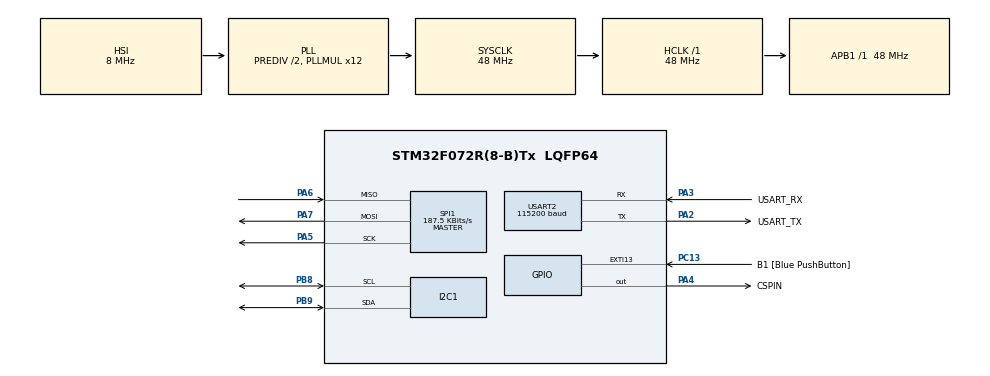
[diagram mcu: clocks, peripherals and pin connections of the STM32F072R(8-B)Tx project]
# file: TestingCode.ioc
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Mcu.Family=STM32F0
Mcu.Name=STM32F072R(8-B)Tx
Mcu.Package=LQFP64
PA13.GPIO_Label=TMS
PA13.Signal=SYS_SWDIO
PA14.GPIO_Label=TCK
PA14.Signal=SYS_SWCLK
PA2.GPIO_Label=USART_TX
PA2.GPIO_Mode=GPIO_MODE_AF_PP
PA2.GPIO_PuPd=GPIO_NOPULL
PA2.GPIO_Speed=GPIO_SPEED_FREQ_LOW
PA2.Mode=Asynchronous
PA2.Signal=USART2_TX
PA3.GPIO_Label=USART_RX
PA3.GPIO_Mode=GPIO_MODE_AF_PP
PA3.GPIO_PuPd=GPIO_NOPULL
PA3.GPIO_Speed=GPIO_SPEED_FREQ_LOW
PA3.Mode=Asynchronous
PA3.Signal=USART2_RX
PA4.GPIO_Label=CSPIN
PA4.GPIO_PuPd=GPIO_PULLUP
PA4.GPIO_Speed=GPIO_SPEED_FREQ_HIGH
PA4.PinState=GPIO_PIN_RESET
PA4.Signal=GPIO_Output
PA5.Mode=Full_Duplex_Master
PA5.Signal=SPI1_SCK
PA6.Mode=Full_Duplex_Master
PA6.Signal=SPI1_MISO
PA7.Mode=Full_Duplex_Master
PA7.Signal=SPI1_MOSI
PB8.Mode=I2C
PB8.Signal=I2C1_SCL
PB9.Mode=I2C
PB9.Signal=I2C1_SDA
PC13.GPIO_Label=B1 [Blue PushButton]
PC13.GPIO_ModeDefaultEXTI=GPIO_MODE_EVT_RISING
PC13.Signal=GPXTI13
PC14-OSC32_IN.Signal=RCC_OSC32_IN
PC15-OSC32_OUT.Signal=RCC_OSC32_OUT
PF0-OSC_IN.Signal=RCC_OSC_IN
PF1-OSC_OUT.Signal=RCC_OSC_OUT
ProjectManager.HeapSize=0x200
ProjectManager.StackSize=0x400
ProjectManager.TargetToolchain=MDK-ARM V5
RCC.AHBFreq_Value=48000000
RCC.APB1Freq_Value=48000000
RCC.APB1TimFreq_Value=48000000
RCC.FLatency-AdvancedSettings=FLASH_LATENCY_1
RCC.HCLKFreq_Value=48000000
RCC.PLLDivider=RCC_PREDIV_DIV2
RCC.PLLMUL=RCC_PLL_MUL12
RCC.SYSCLKFreq_VALUE=48000000
RCC.SYSCLKSource=RCC_SYSCLKSOURCE_PLLCLK
SPI1.BaudRatePrescaler=SPI_BAUDRATEPRESCALER_256
SPI1.CalculateBaudRate=187.5 KBits/s
SPI1.DataSize=SPI_DATASIZE_8BIT
SPI1.Mode=SPI_MODE_MASTER
SPI1.NSSPMode=SPI_NSS_PULSE_DISABLE
SPI1.TIMode=SPI_TIMODE_DISABLE
USART2.BaudRate=115200
USART2.WordLength=UART_WORDLENGTH_8B
board=NUCLEO-F072RB

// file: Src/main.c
/**
  ******************************************************************************
  * File Name          : main.c
  * Description        : Main program body
  ******************************************************************************
  *
  * COPYRIGHT(c) 2016 STMicroelectronics
  *
  * Redistribution and use in source and binary forms, with or without modification,
  * are permitted provided that the following conditions are met:
  *   1. Redistributions of source code must retain the above copyright notice,
  *      this list of conditions and the following disclaimer.
  *   2. Redistributions in binary form must reproduce the above copyright notice,
  *      this list of conditions and the following disclaimer in the documentation
  *      and/or other materials provided with the distribution.
  *   3. Neither the name of STMicroelectronics nor the names of its contributors
  *      may be used to endorse or promote products derived from this software
  *      without specific prior written permission.
  *
  * THIS SOFTWARE IS PROVIDED BY THE COPYRIGHT HOLDERS AND CONTRIBUTORS "AS IS"
  * AND ANY EXPRESS OR IMPLIED WARRANTIES, INCLUDING, BUT NOT LIMITED TO, THE
  * IMPLIED WARRANTIES OF MERCHANTABILITY AND FITNESS FOR A PARTICULAR PURPOSE ARE
  * DISCLAIMED. IN NO EVENT SHALL THE COPYRIGHT HOLDER OR CONTRIBUTORS BE LIABLE
  * FOR ANY DIRECT, INDIRECT, INCIDENTAL, SPECIAL, EXEMPLARY, OR CONSEQUENTIAL
  * DAMAGES (INCLUDING, BUT NOT LIMITED TO, PROCUREMENT OF SUBSTITUTE GOODS OR
  * SERVICES; LOSS OF USE, DATA, OR PROFITS; OR BUSINESS INTERRUPTION) HOWEVER
  * CAUSED AND ON ANY THEORY OF LIABILITY, WHETHER IN CONTRACT, STRICT LIABILITY,
  * OR TORT (INCLUDING NEGLIGENCE OR OTHERWISE) ARISING IN ANY WAY OUT OF THE USE
  * OF THIS SOFTWARE, EVEN IF ADVISED OF THE POSSIBILITY OF SUCH DAMAGE.
  *
  ******************************************************************************
  */
#include "stm32f0xx_hal.h"

I2C_HandleTypeDef hi2c1;

SPI_HandleTypeDef hspi1;

UART_HandleTypeDef huart2;

/* USER CODE BEGIN PV */
/* Private variables ---------------------------------------------------------*/

/* USER CODE END PV */

void SystemClock_Config(void);
void Error_Handler(void);
static void MX_GPIO_Init(void);
static void MX_I2C1_Init(void);
static void MX_SPI1_Init(void);
static void MX_USART2_UART_Init(void);

/* USER CODE BEGIN PFP */
/* Private function prototypes -----------------------------------------------*/

/* USER CODE END PFP */

/* USER CODE BEGIN 0 */

uint8_t writedata=0;

#define WREN  6
#define WRDI  4
#define RDSR  5
#define WRSR  1
#define READ  3
#define WRITE 2

typedef struct
{
	uint8_t seconds;
	uint8_t minutes;
	uint8_t hours;
	uint8_t day;
	uint8_t date;
	uint8_t months;
	uint8_t year;
	uint8_t ctrl_reg;
}tRTCReg;

typedef struct
{
	uint8_t address;
	uint8_t seconds;
	uint8_t minutes;
	uint8_t hours;
	uint8_t day;
	uint8_t date;
	uint8_t months;
	uint8_t year;
	uint8_t ctrl_reg;
}tRTCRegWrite;

char HexToAscii (char ch)
{
	char c;
    c = ch;
	if (c > 9)
        c = c - 10 + 'A';
	else
	    c = c + '0';
    return c;
}

char GetBCDHighToAscii (char ch)
{
	char c;
    c = (ch >> 4) & 0x0f;

    return HexToAscii (c);
}

char GetBCDLowToAscii (char ch)
{
    return HexToAscii (ch & 0x0f);
}

void bcdtos(char* s, unsigned char bcdchar)
{
	s[0] = GetBCDHighToAscii (bcdchar);
	s[1] = GetBCDLowToAscii (bcdchar);
}

uint8_t read_eeprom(int EEPROM_address)
{
	uint8_t printdata[2];
  //READ EEPROM
	uint8_t data[10];
  uint8_t readsequence[3]={READ, 0, 0};
	readsequence[1]=EEPROM_address>>8;
	readsequence[2]=EEPROM_address;

	HAL_GPIO_WritePin(CSPIN_GPIO_Port, CSPIN_Pin, GPIO_PIN_RESET);
	HAL_SPI_Transmit(&hspi1, readsequence, 3, HAL_MAX_DELAY);
	HAL_SPI_Receive(&hspi1, data, 10, HAL_MAX_DELAY);
	HAL_GPIO_WritePin(CSPIN_GPIO_Port, CSPIN_Pin, GPIO_PIN_SET);

	//print data
	bcdtos(printdata,data[3]);
	HAL_UART_Transmit(&huart2, "\r\n", 2, HAL_MAX_DELAY);
	HAL_UART_Transmit(&huart2, "ReadData : ", 11, HAL_MAX_DELAY);
	HAL_UART_Transmit(&huart2, printdata, 2, HAL_MAX_DELAY);

  return data[3];
}

void write_eeprom(int EEPROM_address, uint8_t data)
{
	uint8_t printdata[2];
  //READ EEPROM
	uint8_t wrendata=WREN;
  uint8_t writesequence[3]={WRITE, 0, 0};
	writesequence[1]=EEPROM_address>>8;
	writesequence[2]=EEPROM_address;

	HAL_GPIO_WritePin(CSPIN_GPIO_Port, CSPIN_Pin, GPIO_PIN_RESET);
	HAL_SPI_Transmit(&hspi1, &wrendata, 1, HAL_MAX_DELAY);
	HAL_GPIO_WritePin(CSPIN_GPIO_Port, CSPIN_Pin, GPIO_PIN_SET);
  HAL_Delay(10);
  HAL_GPIO_WritePin(CSPIN_GPIO_Port, CSPIN_Pin, GPIO_PIN_RESET);
	HAL_SPI_Transmit(&hspi1, writesequence, 3, HAL_MAX_DELAY);
  HAL_SPI_Transmit(&hspi1, &data, 1, HAL_MAX_DELAY);
	HAL_GPIO_WritePin(CSPIN_GPIO_Port, CSPIN_Pin, GPIO_PIN_SET);

	//print data
	bcdtos(printdata,data);
	HAL_UART_Transmit(&huart2, "\r\n", 2, HAL_MAX_DELAY);
	HAL_UART_Transmit(&huart2, "WriteData : ", 11, HAL_MAX_DELAY);
	HAL_UART_Transmit(&huart2, printdata, 2, HAL_MAX_DELAY);
	HAL_Delay(100);
}

void printdatetime(tRTCReg* pthisreg)
{
	uint8_t time[]="HH:MM:SS";
	uint8_t date[]="DD/MM/20YY";
	uint8_t day;
	uint8_t isclockhalt;
	uint8_t is12hoursmode;
	bcdtos(&time[0], pthisreg->hours);
	bcdtos(&time[3], pthisreg->minutes);
	bcdtos(&time[6], pthisreg->seconds);

	bcdtos(&date[0], pthisreg->date);
	bcdtos(&date[3], pthisreg->months);
	bcdtos(&date[8], pthisreg->year);

	HAL_UART_Transmit(&huart2, "\r\n", 2, HAL_MAX_DELAY);
	HAL_UART_Transmit(&huart2, "CurrentDate : ", 14, HAL_MAX_DELAY);
	HAL_UART_Transmit(&huart2, date, 10, HAL_MAX_DELAY);
	HAL_UART_Transmit(&huart2, "\r\n", 2, HAL_MAX_DELAY);
	HAL_UART_Transmit(&huart2, "CurrentTime : ", 14, HAL_MAX_DELAY);
	HAL_UART_Transmit(&huart2, time, 8, HAL_MAX_DELAY);
}

void SetDateTime()
{
	tRTCRegWrite RTCReg;

	RTCReg.address  = 0x00;
	RTCReg.seconds 	= 0x00;
	RTCReg.minutes	= 0x00;
	RTCReg.hours	= 0x12;
	RTCReg.day 	= 0x01;
	RTCReg.date 	= 0x11;
	RTCReg.months 	= 0x07;
	RTCReg.year 	= 0x16;
	HAL_I2C_Master_Transmit(&hi2c1, 0xd0, (uint8_t*)&RTCReg, 8, HAL_MAX_DELAY);
}

/* USER CODE END 0 */

int main(void)
{
  /* USER CODE BEGIN 1 */
	tRTCReg datetiemreg;
	uint8_t data[8]={0x00, 0x01, 0x02,0x03,0x04,0x05,0x06,0xff};
	uint8_t spidata[]={0x05,0xff,0xff};
	uint8_t thisdata;
  /* USER CODE END 1 */

  /* MCU Configuration----------------------------------------------------------*/

  /* Reset of all peripherals, Initializes the Flash interface and the Systick. */
  HAL_Init();

  /* Configure the system clock */
  SystemClock_Config();

  /* Initialize all configured peripherals */
  MX_GPIO_Init();
  MX_I2C1_Init();
  MX_SPI1_Init();
  MX_USART2_UART_Init();
	write_eeprom(1, 0xab);
	thisdata=read_eeprom(1);
  /* USER CODE BEGIN 2 */
	//HAL_I2C_Master_Transmit(&hi2c1, 0xd0, data, 8, HAL_MAX_DELAY);
	//HAL_SPI_TransmitReceive(&hspi1, spidata, spidata, 1, HAL_MAX_DELAY);
	//HAL_GPIO_WritePin(CSPIN_GPIO_Port, CSPIN_Pin, GPIO_PIN_RESET);
	//HAL_SPI_Transmit(&hspi1, spidata, 2, HAL_MAX_DELAY);
	//HAL_GPIO_WritePin(CSPIN_GPIO_Port, CSPIN_Pin, GPIO_PIN_SET);

	//HAL_GPIO_WritePin(CSPIN_GPIO_Port, CSPIN_Pin, GPIO_PIN_RESET);
	//HAL_SPI_Transmit(&hspi1, spidata, 2, HAL_MAX_DELAY);
	//HAL_GPIO_WritePin(CSPIN_GPIO_Port, CSPIN_Pin, GPIO_PIN_SET);

	//printf("HELLO WORLD");
	HAL_UART_Transmit(&huart2, "HELLO WORLD", 11, HAL_MAX_DELAY);
	SetDateTime();
  /* USER CODE END 2 */

  /* Infinite loop */
  /* USER CODE BEGIN WHILE */
  while (1)
  {
	HAL_Delay(2000);
	HAL_I2C_Master_Transmit(&hi2c1, 0xd0, data, 1, HAL_MAX_DELAY);
	HAL_I2C_Master_Receive(&hi2c1, 0xd0, (uint8_t*)&datetiemreg, 7, HAL_MAX_DELAY);
	printdatetime(&datetiemreg);
	writedata++;
	write_eeprom(1, writedata);
	read_eeprom(1);
  /* USER CODE END WHILE */

  }

}

/** System Clock Configuration
*/
void SystemClock_Config(void)
{

  RCC_OscInitTypeDef RCC_OscInitStruct;
  RCC_ClkInitTypeDef RCC_ClkInitStruct;
  RCC_PeriphCLKInitTypeDef PeriphClkInit;

  RCC_OscInitStruct.OscillatorType = RCC_OSCILLATORTYPE_HSI;
  RCC_OscInitStruct.HSIState = RCC_HSI_ON;
  RCC_OscInitStruct.HSICalibrationValue = 16;
  RCC_OscInitStruct.PLL.PLLState = RCC_PLL_ON;
  RCC_OscInitStruct.PLL.PLLSource = RCC_PLLSOURCE_HSI;
  RCC_OscInitStruct.PLL.PLLMUL = RCC_PLL_MUL12;
  RCC_OscInitStruct.PLL.PREDIV = RCC_PREDIV_DIV2;
  if (HAL_RCC_OscConfig(&RCC_OscInitStruct) != HAL_OK)
  {
    Error_Handler();
  }

  RCC_ClkInitStruct.ClockType = RCC_CLOCKTYPE_HCLK|RCC_CLOCKTYPE_SYSCLK
                              |RCC_CLOCKTYPE_PCLK1;
  RCC_ClkInitStruct.SYSCLKSource = RCC_SYSCLKSOURCE_PLLCLK;
  RCC_ClkInitStruct.AHBCLKDivider = RCC_SYSCLK_DIV1;
  RCC_ClkInitStruct.APB1CLKDivider = RCC_HCLK_DIV1;
  if (HAL_RCC_ClockConfig(&RCC_ClkInitStruct, FLASH_LATENCY_1) != HAL_OK)
  {
    Error_Handler();
  }

  PeriphClkInit.PeriphClockSelection = RCC_PERIPHCLK_USART2|RCC_PERIPHCLK_I2C1;
  PeriphClkInit.Usart2ClockSelection = RCC_USART2CLKSOURCE_PCLK1;
  PeriphClkInit.I2c1ClockSelection = RCC_I2C1CLKSOURCE_HSI;
  if (HAL_RCCEx_PeriphCLKConfig(&PeriphClkInit) != HAL_OK)
  {
    Error_Handler();
  }

  HAL_SYSTICK_Config(HAL_RCC_GetHCLKFreq()/1000);

  HAL_SYSTICK_CLKSourceConfig(SYSTICK_CLKSOURCE_HCLK);

  /* SysTick_IRQn interrupt configuration */
  HAL_NVIC_SetPriority(SysTick_IRQn, 0, 0);
}

/* I2C1 init function */
static void MX_I2C1_Init(void)
{

  hi2c1.Instance = I2C1;
  hi2c1.Init.Timing = 0x2000090E;
  hi2c1.Init.OwnAddress1 = 0;
  hi2c1.Init.AddressingMode = I2C_ADDRESSINGMODE_7BIT;
  hi2c1.Init.DualAddressMode = I2C_DUALADDRESS_DISABLE;
  hi2c1.Init.OwnAddress2 = 0;
  hi2c1.Init.OwnAddress2Masks = I2C_OA2_NOMASK;
  hi2c1.Init.GeneralCallMode = I2C_GENERALCALL_DISABLE;
  hi2c1.Init.NoStretchMode = I2C_NOSTRETCH_DISABLE;
  if (HAL_I2C_Init(&hi2c1) != HAL_OK)
  {
    Error_Handler();
  }

    /**Configure Analogue filter
    */
  if (HAL_I2CEx_ConfigAnalogFilter(&hi2c1, I2C_ANALOGFILTER_ENABLE) != HAL_OK)
  {
    Error_Handler();
  }

}

/* SPI1 init function */
static void MX_SPI1_Init(void)
{

  hspi1.Instance = SPI1;
  hspi1.Init.Mode = SPI_MODE_MASTER;
  hspi1.Init.Direction = SPI_DIRECTION_2LINES;
  hspi1.Init.DataSize = SPI_DATASIZE_8BIT;
  hspi1.Init.CLKPolarity = SPI_POLARITY_LOW;
  hspi1.Init.CLKPhase = SPI_PHASE_1EDGE;
  hspi1.Init.NSS = SPI_NSS_SOFT;
  hspi1.Init.BaudRatePrescaler = SPI_BAUDRATEPRESCALER_256;
  hspi1.Init.FirstBit = SPI_FIRSTBIT_MSB;
  hspi1.Init.TIMode = SPI_TIMODE_DISABLE;
  hspi1.Init.CRCCalculation = SPI_CRCCALCULATION_DISABLE;
  hspi1.Init.CRCPolynomial = 7;
  hspi1.Init.CRCLength = SPI_CRC_LENGTH_DATASIZE;
  hspi1.Init.NSSPMode = SPI_NSS_PULSE_DISABLE;
  if (HAL_SPI_Init(&hspi1) != HAL_OK)
  {
    Error_Handler();
  }

}

/* USART2 init function */
static void MX_USART2_UART_Init(void)
{

  huart2.Instance = USART2;
  huart2.Init.BaudRate = 115200;
  huart2.Init.WordLength = UART_WORDLENGTH_8B;
  huart2.Init.StopBits = UART_STOPBITS_1;
  huart2.Init.Parity = UART_PARITY_NONE;
  huart2.Init.Mode = UART_MODE_TX_RX;
  huart2.Init.HwFlowCtl = UART_HWCONTROL_NONE;
  huart2.Init.OverSampling = UART_OVERSAMPLING_16;
  huart2.Init.OneBitSampling = UART_ONE_BIT_SAMPLE_DISABLE;
  huart2.AdvancedInit.AdvFeatureInit = UART_ADVFEATURE_NO_INIT;
  if (HAL_UART_Init(&huart2) != HAL_OK)
  {
    Error_Handler();
  }

}

/** Configure pins as
        * Analog
        * Input
        * Output
        * EVENT_OUT
        * EXTI
*/
static void MX_GPIO_Init(void)
{

  GPIO_InitTypeDef GPIO_InitStruct;

  /* GPIO Ports Clock Enable */
  __HAL_RCC_GPIOC_CLK_ENABLE();
  __HAL_RCC_GPIOF_CLK_ENABLE();
  __HAL_RCC_GPIOA_CLK_ENABLE();
  __HAL_RCC_GPIOB_CLK_ENABLE();

  /*Configure GPIO pin : B1_Pin */
  GPIO_InitStruct.Pin = B1_Pin;
  GPIO_InitStruct.Mode = GPIO_MODE_EVT_RISING;
  GPIO_InitStruct.Pull = GPIO_NOPULL;
  HAL_GPIO_Init(B1_GPIO_Port, &GPIO_InitStruct);

  /*Configure GPIO pin : CSPIN_Pin */
  GPIO_InitStruct.Pin = CSPIN_Pin;
  GPIO_InitStruct.Mode = GPIO_MODE_OUTPUT_PP;
  GPIO_InitStruct.Pull = GPIO_PULLUP;
  GPIO_InitStruct.Speed = GPIO_SPEED_FREQ_HIGH;
  HAL_GPIO_Init(CSPIN_GPIO_Port, &GPIO_InitStruct);

  /*Configure GPIO pin Output Level */
  HAL_GPIO_WritePin(CSPIN_GPIO_Port, CSPIN_Pin, GPIO_PIN_RESET);

}

void Error_Handler(void)
{
  while(1)
  {
  }
}

/************************ (C) COPYRIGHT STMicroelectronics *****END OF FILE****/
